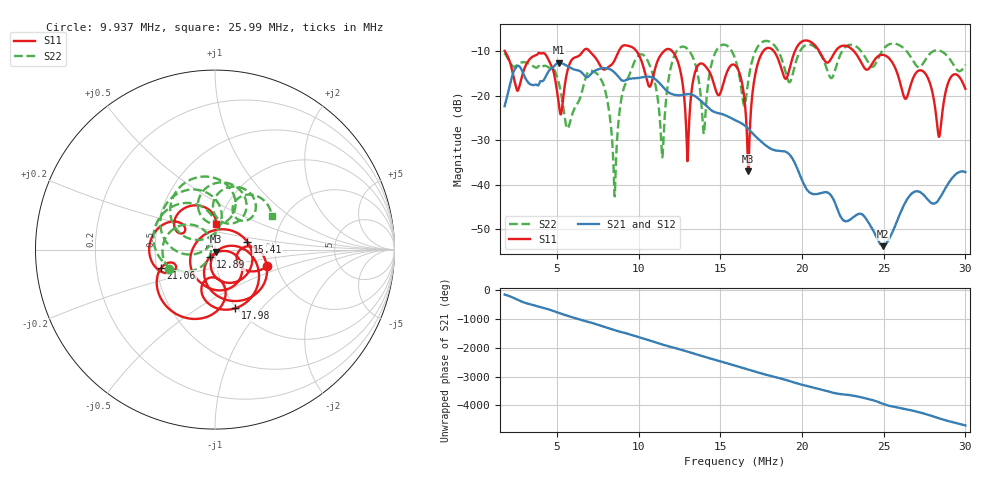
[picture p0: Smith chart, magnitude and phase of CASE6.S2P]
!Agilent Technologies,E5061B,MY49101568,A.02.00
!Date: Wed Mar 01 14:27:17 2023
!Data & Calibration Information:
!Freq	S11:SOLT2(OFF)	S21:SOLT2(OFF)	S12:SOLT2(OFF)	S22:SOLT2(OFF)
# Hz S dB R 50
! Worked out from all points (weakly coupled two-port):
!   1155 points, 1.8 MHz to 30 MHz, reference 50 ohm
!   highest |S21| = -12.55 dB at 5.123 MHz (marker M1); lowest = -53.9 dB at 24.94 MHz (marker M2)
!   lowest |S11| = -37.0 dB at 16.71 MHz (marker M3), VSWR 1.03, Z = 50.7 - j1.22 ohm
!   |S11| at or under -10 dB: 1.817 MHz to 6.595 MHz (4.778 MHz wide, 114 % of centre); 12.07 MHz to 17.62 MHz (5.553 MHz wide, 37.4 % of centre); 23.19 MHz to end of sweep (the widest 3 of 7)
!   |S22| runs from -42.7 to -7.7 dB; largest |S21 - S12| = 0.0031
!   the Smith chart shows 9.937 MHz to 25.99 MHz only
!   S11 on the Smith chart (normalised r, x): 9.937 MHz: 1.77, -0.36; 12.89 MHz: 0.94, -0.08; 15.41 MHz: 1.43, +0.13; 17.98 MHz: 0.98, -0.73; 21.06 MHz: 0.53, -0.12; 25.99 MHz: 0.97, +0.28
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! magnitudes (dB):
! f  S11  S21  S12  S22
! 1.8 MHz  -9.9  -22.3  -22.3  -10.3
! 5.123 MHz  -22.0  -12.6  -12.5  -17.2
! 6.516 MHz  -10.4  -14.8  -14.7  -19.4
! 7.787 MHz  -13.9  -13.8  -13.7  -17.0
! 8.545 MHz  -11.9  -14.8  -14.8  -42.7
! 9.937 MHz  -10.3  -16.0  -16.0  -11.2
! 11.21 MHz  -11.8  -16.9  -16.9  -21.7
! 11.48 MHz  -10.3  -18.0  -18.0  -33.1
! 12.33 MHz  -11.7  -19.9  -19.9  -9.9
! 12.89 MHz  -26.0  -19.7  -19.7  -9.2
! 13.99 MHz  -13.0  -21.8  -21.8  -28.6
! 15.41 MHz  -14.7  -24.6  -24.7  -8.7
! 15.9 MHz  -13.1  -25.5  -25.5  -11.6
! 16.71 MHz  -37.0  -27.4  -27.4  -16.8
! 17.98 MHz  -9.2  -31.7  -31.8  -7.8
! 20.62 MHz  -8.1  -42.1  -42.0  -8.6
! 21.06 MHz  -10.0  -42.0  -42.0  -10.1
! 24.94 MHz  -10.8  -53.9  -53.7  -9.7
! 25.31 MHz  -11.5  -52.4  -52.3  -8.5
! 25.99 MHz  -16.9  -46.6  -46.6  -8.7
! 28.39 MHz  -29.3  -43.3  -43.2  -9.8
! 30 MHz  -18.4  -37.2  -37.1  -13.0
